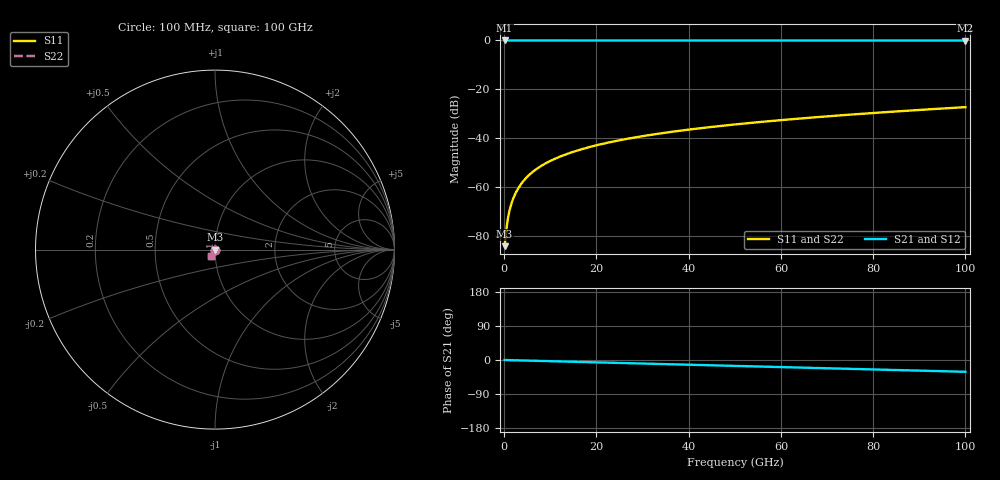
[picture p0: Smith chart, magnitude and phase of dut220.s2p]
! Touchstone file exported from HFSS 2026.1.0
!  File:  C:/ffzhzh/LocalFiles/Ansys_Project_Files/temp_train_TSV_220_1783507805_41296.aedt
!  Generated:  06:51:13 PM Jul  8, 2026
!  Design:  TSV
!  Project:  temp_train_TSV_220_1783507805_41296
! Variables:
!  h_bsmrdl = 2um
!  h_ox = 20um
!  h_rdl = 5um
!  h_sub = 57.89um
!  h_tmrdl = 5um
!  h_tsv = 57.89um
!  h_via = 3um
!  l_bsmrdl = 300um
!  l_sub = 428.74um
!  l_tmrdl = 200um
!  m_sub = 200um
!  pitch = 53.26um
!  r_tsv = 14.37um
!  s_tmrdl = 10um
!  w_bsmrdl = 18um
!  w_sub = 500um
!  w_tmrdl = 12um
!  x_tsv_center1 = 206um
!  x_tsv_center2 = 524um
!  x_tsv_center3 = 736um
!  x_tsv_center4 = 1054um
!  x_tsv_center5 = 1266um
!  x_tsv_center6 = 1584um
# GHz S MA R 50.000000
! Terminal data exported
! Port[1] = TSV1_1_T1
! Port[2] = TSV1_1_T2
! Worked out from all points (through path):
!   1000 points, 100 MHz to 100 GHz, reference 50 ohm
!   highest |S21| = 0.00 dB at 100 MHz (marker M1); lowest = 0.0 dB at 100 GHz (marker M2)
!   group delay of S21, straight-line fit = 864 fs
!   lowest |S11| = -84.3 dB at 100 MHz (marker M3), VSWR 1.00, Z = 50 - j0.000464 ohm
!   |S11| at or under -10 dB: start of sweep to end of sweep
!   |S22| runs from -84.3 to -27.3 dB; largest |S21 - S12| = 4e-15
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0.1  6.102e-05 -4.4  0.9999 -0.0  0.9999 -0.0  6.102e-05 -4.4
! Gamma 0 0 0 0
! Port Impedance 50 0 50 0
0.3  9.089e-05 -17.2  0.9999 -0.1  0.9999 -0.1  9.089e-05 -17.2
0.5  0.0001377 -30.6  0.9999 -0.2  0.9999 -0.2  0.0001377 -30.6
1  0.0002787 -51.5  0.9998 -0.3  0.9998 -0.3  0.0002787 -51.5
1.3  0.0003686 -58.0  0.9998 -0.4  0.9998 -0.4  0.0003686 -58.0
1.6  0.0004608 -62.4  0.9998 -0.5  0.9998 -0.5  0.0004608 -62.4
1.9  0.0005551 -65.5  0.9998 -0.6  0.9998 -0.6  0.0005551 -65.5
2.5  0.0007492 -69.7  0.9997 -0.8  0.9997 -0.8  0.0007492 -69.7
3.1  0.0009494 -72.4  0.9997 -1.0  0.9997 -1.0  0.0009494 -72.4
3.8  0.001189 -74.8  0.9997 -1.2  0.9997 -1.2  0.001189 -74.8
4.6  0.001467 -76.8  0.9996 -1.4  0.9996 -1.4  0.001467 -76.8
6.7  0.002209 -80.5  0.9996 -2.1  0.9996 -2.1  0.00221 -80.5
9.4  0.003181 -83.3  0.9995 -2.9  0.9995 -2.9  0.003182 -83.3
12.7  0.004382 -85.7  0.9994 -3.9  0.9994 -3.9  0.004383 -85.7
16.8  0.005905 -88.1  0.9993 -5.2  0.9993 -5.2  0.005906 -88.1
24.1  0.008671 -91.8  0.9991 -7.5  0.9991 -7.5  0.008671 -91.8
33.4  0.01228 -95.7  0.9989 -10.3  0.9989 -10.3  0.01228 -95.7
41.1  0.01534 -98.7  0.9987 -12.7  0.9987 -12.7  0.01534 -98.6
50.1  0.01905 -101.9  0.9985 -15.5  0.9985 -15.5  0.01905 -101.9
66.7  0.02633 -107.6  0.9982 -20.7  0.9982 -20.7  0.02633 -107.5
83.4  0.03433 -113.3  0.9977 -25.9  0.9977 -25.9  0.03433 -113.2
100  0.04305 -119.3  0.997 -31.1  0.997 -31.1  0.04305 -119.2
